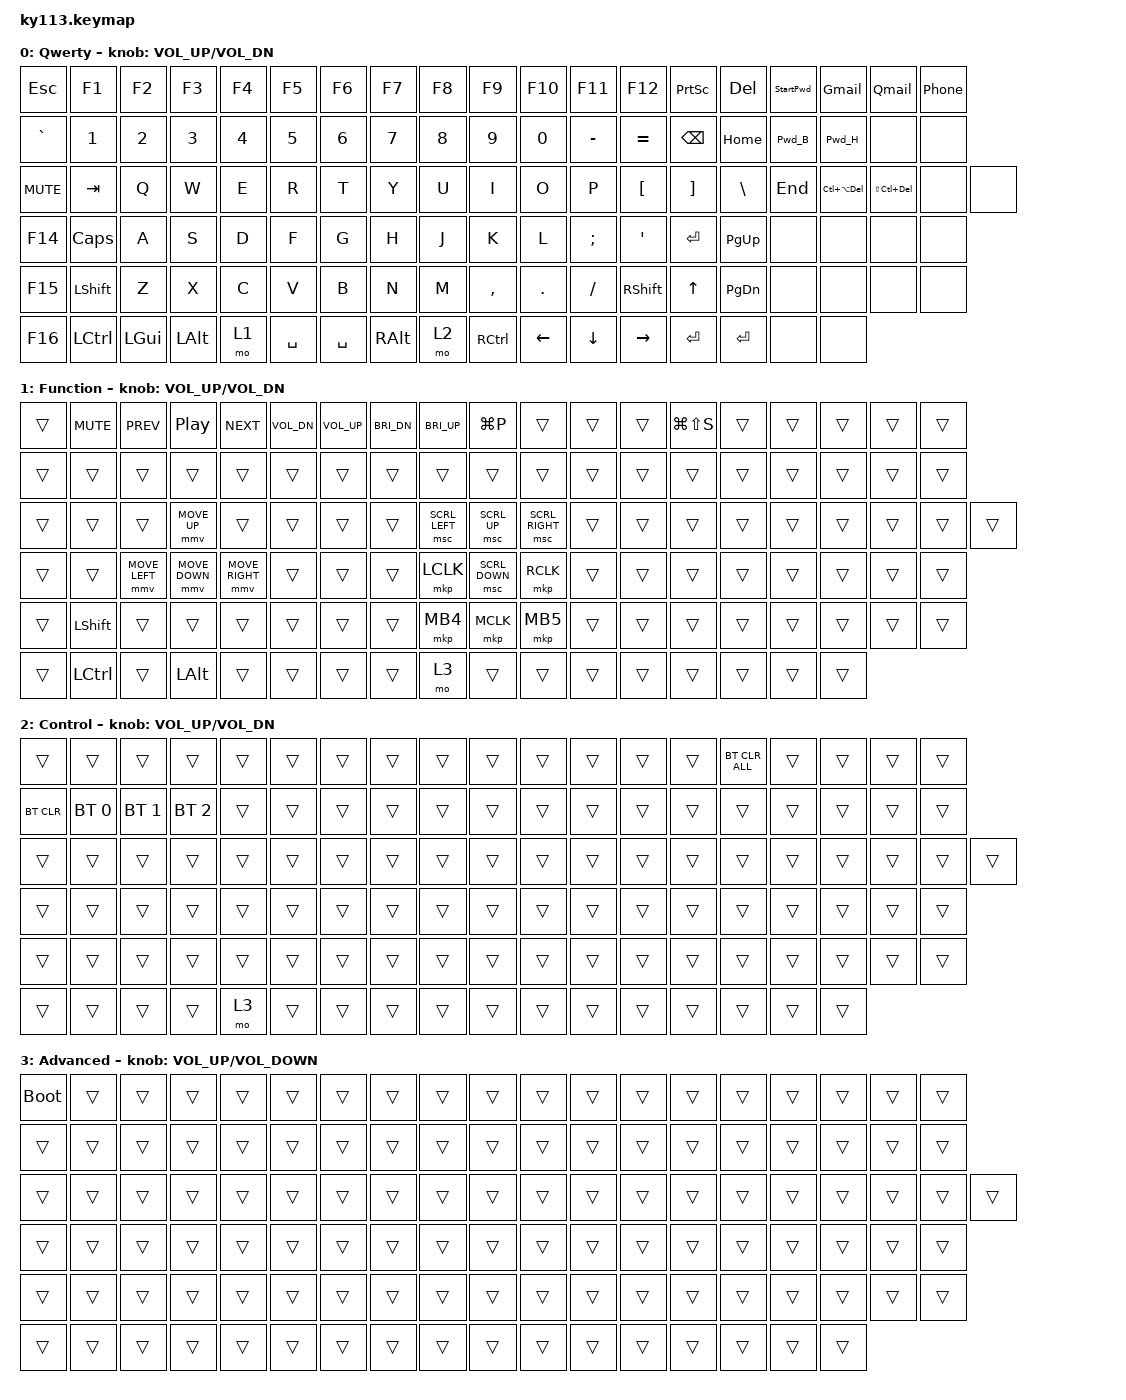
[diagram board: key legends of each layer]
/*
 * Copyright (c) 2023 The ZMK Contributors
 *
 * SPDX-License-Identifier: MIT
 */

#include <behaviors/mouse_keys.dtsi>
#include <dt-bindings/zmk/mouse.h>
#include <behaviors.dtsi>
#include <dt-bindings/zmk/bt.h>
#include <dt-bindings/zmk/keys.h>
#include <dt-bindings/zmk/mouse.h>

#define ZMK_MOUSE_DEFAULT_MOVE_VAL 1200  // 600
#define ZMK_MOUSE_DEFAULT_SCRL_VAL 20    // 10
#define U_MS_U &mmv MOVE_UP
#define U_MS_D &mmv MOVE_DOWN
#define U_MS_L &mmv MOVE_LEFT
#define U_MS_R &mmv MOVE_RIGHT
#define ZMK_MOUSE_DEFAULT_MOVE_VAL 1200  //  600
#define ZMK_MOUSE_DEFAULT_SCRL_VAL 20    // 10

/ {
    macros {
        StartPwd: StartPwd {
            compatible = "zmk,behavior-macro";
            #binding-cells = <0>;
            bindings = <&kp N1 &kp N2 &kp N3 &kp N6 &kp N5 &kp N4 &kp ENTER>;
            label = "STARTPWD";
        };

        Gmail: Gmail {
            compatible = "zmk,behavior-macro";
            #binding-cells = <0>;
            bindings = <&none &kp C &kp O &kp E &kp N &kp DOT &kp K &kp DOT &kp W &kp A &kp N &kp G &kp AT &kp G &kp M &kp A &kp I &kp L &kp DOT &kp C &kp O &kp M>;
            label = "GMAIL";
        };

        Qmail: Qmail {
            compatible = "zmk,behavior-macro";
            #binding-cells = <0>;
            bindings = <&none &kp N1 &kp N1 &kp N5 &kp N0 &kp N9 &kp N0 &kp N4 &kp N7 &kp N8 &kp N4 &kp AT &kp Q &kp Q &kp DOT &kp C &kp O &kp M>;
            label = "QMAIL";
        };

        Phone: Phone {
            compatible = "zmk,behavior-macro";
            #binding-cells = <0>;
            bindings = <&none &kp N1 &kp N8 &kp N9 &kp N1 &kp N2 &kp N3 &kp N7 &kp N6 &kp N3 &kp N1 &kp N9>;
            label = "PHONE";
        };

        Pwd_B: Pwd_B {
            compatible = "zmk,behavior-macro";
            #binding-cells = <0>;
            bindings = <&none &kp LS(B) &kp A &kp LS(Z) &kp H &kp E &kp N &kp G &kp LS(D) &kp A &kp O &kp AMPS &kp N1 &kp N2>;
            label = "PWD_B";
        };

        Pwd_H: Pwd_H {
            compatible = "zmk,behavior-macro";
            #binding-cells = <0>;
            bindings = <&none &kp LS(H) &kp E &kp R &kp O &kp N1 &kp N2 &kp N3 &kp N4>;
            label = "PWD_H";
        };
    };

    behaviors {
        hm: homerow_mods {
            compatible = "zmk,behavior-hold-tap";
            #binding-cells = <2>;
            tapping-term-ms = <200>;
            quick-tap-ms = <0>;
            flavor = "tap-preferred";
            bindings = <&kp>, <&kp>;

            label = "HOMEROW_MODS";
        };

        ltq: ltq {
            compatible = "zmk,behavior-hold-tap";
            label = "LTQ";
            bindings = <&mo>, <&kp>;

            #binding-cells = <2>;
            tapping-term-ms = <500>;
            quick-tap-ms = <200>;
            flavor = "tap-preferred";
        };

        as: auto_shift {
            compatible = "zmk,behavior-hold-tap";
            #binding-cells = <2>;
            tapping-term-ms = <200>;
            quick-tap-ms = <0>;
            label = "AUTO_SHIFT";
            flavor = "tap-preferred";
            bindings = <&kp>, <&kp>;
        };
    };

    combos { compatible = "zmk,combos"; };

    keymap {
        compatible = "zmk,keymap";

        qwerty_layer {
            //  ---------------------------------------------------------------------------------
            //  |      |ESC   |F1  |F2  |F3       |F4         |F5  |F6  |    |F7  |F8         |F9       |F10 |F11  |F12   |&to 1|    |C_MUTE|    |ESC        |TAB        |BSPC        |EQUAL|
            //  |      |GRAVE |N1  |N2  |N3       |N4         |N5  |N6  |    |N7  |N8         |N9       |N0  |MINUS|EQUAL |BSPC |    |HOME  |    |NLCK       |SLASH      |MULTIPLY    |MINUS|
            //  |C_MUTE|TAB   |Q   |W   |E        |R          |T   |    |    |Y   |U          |I        |O   |P    |LBKT  |RBKT |BSLH|END   |    |7          |8          |9           |PLUS |
            //  |1     |CAPS  |A   |S   |D        |&lt 4 F    |G   |    |    |H   |J          |K        |L   |SEMI |SQT   |ENTER|    |PG_UP |    |4          |5          |6           |PLUS |
            //  |2     |LSHIFT|Z   |X   |C        |V          |B   |    |    |N   |M          |COMMA    |DOT |FSLH |RSHIFT|UP   |    |PG_DN |    |1          |2          |3           |ENTER|
            //  |3     |LCTRL |LGUI|LALT|&lt 2 DEL|&lt 1 SPACE|    |    |    |    |&lt 1 SPACE|&lt 3 INS|RALT|RCTRL|LEFT  |DOWN |    |RIGHT |    |&lt 2 KP_N0|&lt 2 KP_N0|&lt 5 KP_DOT|ENTER|

            bindings = <
&kp ESC     &kp F1        &kp F2        &kp F3        &kp F4  &kp F5     &kp F6     &kp F7         &kp F8  &kp F9             &kp F10   &kp F11    &kp F12     &kp PRINTSCREEN  &kp DELETE  &StartPwd  &Gmail              &Qmail              &Phone
&kp GRAVE   &kp N1        &kp N2        &kp N3        &kp N4  &kp N5     &kp N6     &kp N7         &kp N8  &kp N9             &kp N0    &kp MINUS  &kp EQUAL   &kp BSPC         &kp HOME    &Pwd_B     &Pwd_H              &none               &none
&kp C_MUTE  &kp TAB       &kp Q         &kp W         &kp E   &kp R      &kp T      &kp Y          &kp U   &kp I              &kp O     &kp P      &kp LBKT    &kp RBKT         &kp BSLH    &kp END    &kp LC(LA(DELETE))  &kp LS(LC(DELETE))  &none   &none
&kp F14     &kp CAPSLOCK  &kp A         &kp S         &kp D   &kp F      &kp G      &kp H          &kp J   &kp K              &kp L     &kp SEMI   &kp SQT     &kp ENTER        &kp PG_UP   &none      &none               &none               &none
&kp F15     &kp LSHIFT    &kp Z         &kp X         &kp C   &kp V      &kp B      &kp N          &kp M   &kp COMMA          &kp DOT   &kp FSLH   &kp RSHIFT  &kp UP           &kp PG_DN   &none      &none               &none               &none
&kp F16     &kp LCTRL     &kp LEFT_GUI  &kp LEFT_ALT  &mo 1   &kp SPACE  &kp SPACE  &kp RIGHT_ALT  &mo 2   &kp RIGHT_CONTROL  &kp LEFT  &kp DOWN   &kp RIGHT   &kp ENTER        &kp ENTER   &none      &none
            >;

            label = "Qwerty";
            sensor-bindings = <&inc_dec_kp C_VOL_UP C_VOL_DN>;
        };

        function_layer {
            //  ---------------------------------------------------------------------------------
            //  |    |    |     |            |           |     |     |    |    |                       |     |    |    |    |    |&to 2|    |    |    |EQUAL|BSPC        |TAB        |ESC        |
            //  |    |N0  |     |            |           |     |     |    |    |                       |     |    |    |    |    |     |    |    |    |MINUS|MULTIPLY    |SLASH      |NLCK       |
            //  |    |    |N6   |N7          |N8         |N9   |DOT  |    |    |&mt KP_SLASH KP_MULTIPLY|N7   |N8  |N9  |    |    |     |    |    |    |PLUS |9           |8          |7          |
            //  |    |    |SLASH|MULTIPLY    |MINUS      |PLUS |ENTER|    |    |PLUS                   |1    |2   |3   |    |    |     |    |    |    |PLUS |6           |5          |4          |
            //  |    |    |HOME |END         |PG_UP      |PG_DN|BSPC |    |    |MINUS                  |N0   |DOT |DOT |    |    |     |    |    |    |ENTER|3           |2          |1          |
            //  |    |    |     |LC(LS(HOME))|LC(LS(END))|     |     |    |    |                       |ENTER|    |    |    |    |     |    |    |    |ENTER|&lt 5 KP_DOT|&lt 3 KP_N0|&lt 3 KP_N0|

            bindings = <
&trans  &kp C_MUTE        &kp C_PREV      &kp C_PLAY_PAUSE  &kp C_NEXT       &kp C_VOL_DN  &kp C_VOL_UP  &kp C_BRI_DN  &kp C_BRI_UP    &kp LG(P)       &trans           &trans  &trans  &kp LG(LS(S))  &trans  &trans  &trans  &trans  &trans
&trans  &trans            &trans          &trans            &trans           &trans        &trans        &trans        &trans          &trans          &trans           &trans  &trans  &trans         &trans  &trans  &trans  &trans  &trans
&trans  &trans            &trans          &mmv MOVE_UP      &trans           &trans        &trans        &trans        &msc SCRL_LEFT  &msc SCRL_UP    &msc SCRL_RIGHT  &trans  &trans  &trans         &trans  &trans  &trans  &trans  &trans  &trans
&trans  &trans            &mmv MOVE_LEFT  &mmv MOVE_DOWN    &mmv MOVE_RIGHT  &trans        &trans        &trans        &mkp LCLK       &msc SCRL_DOWN  &mkp RCLK        &trans  &trans  &trans         &trans  &trans  &trans  &trans  &trans
&trans  &kp LEFT_SHIFT    &trans          &trans            &trans           &trans        &trans        &trans        &mkp MB4        &mkp MCLK       &mkp MB5         &trans  &trans  &trans         &trans  &trans  &trans  &trans  &trans
&trans  &kp LEFT_CONTROL  &trans          &kp LEFT_ALT      &trans           &trans        &trans        &trans        &mo 3           &trans          &trans           &trans  &trans  &trans         &trans  &trans  &trans
            >;

            label = "Function";
            sensor-bindings = <&inc_dec_kp C_VOL_UP C_VOL_DN>;
        };

        control_layer {
            //  ---------------------------------------------------------------------------------
            //  |    |&bootloader |        |        |        |          |         |    |    |    |    |    |    |    |&bootloader|&to 0|    |    |    |    |    |    |    |
            //  |    |BT_CLR      |BT_SEL 0|BT_SEL 1|BT_SEL 2|BT_SEL 3  |BT_SEL 4 |    |    |    |    |    |    |    |           |     |    |    |    |    |    |    |    |
            //  |    |EP_TOG      |        |        |ENTER   |          |         |    |    |    |    |    |    |    |           |     |    |    |    |    |    |    |    |
            //  |    |            |        |        |        |LS(LC(N8))|LC(ENTER)|    |    |    |    |    |    |    |           |     |    |    |    |    |    |    |    |
            //  |    |&out OUT_TOG|        |        |        |          |         |    |    |    |    |    |    |    |           |     |    |    |    |    |    |    |    |
            //  |    |            |        |        |        |          |         |    |    |    |    |    |    |    |           |     |    |    |    |    |    |    |    |

            bindings = <
&trans      &trans        &trans        &trans        &trans  &trans  &trans  &trans  &trans  &trans  &trans  &trans  &trans  &trans  &bt BT_CLR_ALL  &trans  &trans  &trans  &trans
&bt BT_CLR  &bt BT_SEL 0  &bt BT_SEL 1  &bt BT_SEL 2  &trans  &trans  &trans  &trans  &trans  &trans  &trans  &trans  &trans  &trans  &trans          &trans  &trans  &trans  &trans
&trans      &trans        &trans        &trans        &trans  &trans  &trans  &trans  &trans  &trans  &trans  &trans  &trans  &trans  &trans          &trans  &trans  &trans  &trans  &trans
&trans      &trans        &trans        &trans        &trans  &trans  &trans  &trans  &trans  &trans  &trans  &trans  &trans  &trans  &trans          &trans  &trans  &trans  &trans
&trans      &trans        &trans        &trans        &trans  &trans  &trans  &trans  &trans  &trans  &trans  &trans  &trans  &trans  &trans          &trans  &trans  &trans  &trans
&trans      &trans        &trans        &trans        &mo 3   &trans  &trans  &trans  &trans  &trans  &trans  &trans  &trans  &trans  &trans          &trans  &trans
            >;

            label = "Control";
            sensor-bindings = <&inc_dec_kp C_VOL_UP C_VOL_DN>;
        };

        Advanced_layer {
            bindings = <
&bootloader  &trans  &trans  &trans  &trans  &trans  &trans  &trans  &trans  &trans  &trans  &trans  &trans  &trans  &trans  &trans  &trans  &trans  &trans
&trans       &trans  &trans  &trans  &trans  &trans  &trans  &trans  &trans  &trans  &trans  &trans  &trans  &trans  &trans  &trans  &trans  &trans  &trans
&trans       &trans  &trans  &trans  &trans  &trans  &trans  &trans  &trans  &trans  &trans  &trans  &trans  &trans  &trans  &trans  &trans  &trans  &trans  &trans
&trans       &trans  &trans  &trans  &trans  &trans  &trans  &trans  &trans  &trans  &trans  &trans  &trans  &trans  &trans  &trans  &trans  &trans  &trans
&trans       &trans  &trans  &trans  &trans  &trans  &trans  &trans  &trans  &trans  &trans  &trans  &trans  &trans  &trans  &trans  &trans  &trans  &trans
&trans       &trans  &trans  &trans  &trans  &trans  &trans  &trans  &trans  &trans  &trans  &trans  &trans  &trans  &trans  &trans  &trans
            >;

            sensor-bindings = <&inc_dec_kp C_VOLUME_UP C_VOLUME_DOWN>;
            label = "Advanced";
        };
    };

    conditional_layers { compatible = "zmk,conditional-layers"; };
};
